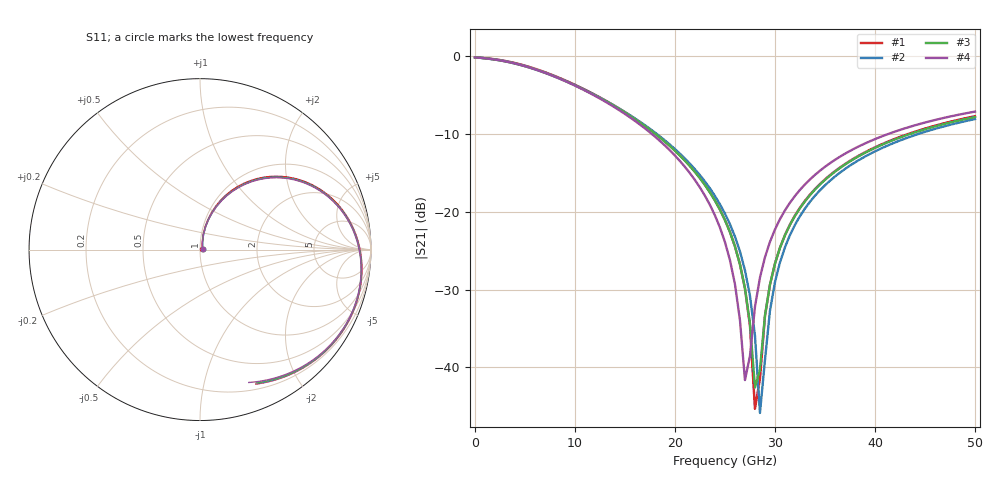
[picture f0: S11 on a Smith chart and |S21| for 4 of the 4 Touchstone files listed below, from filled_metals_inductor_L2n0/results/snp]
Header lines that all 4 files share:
#  GHZ S DB R 50.0
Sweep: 10 MHz to 50 GHz
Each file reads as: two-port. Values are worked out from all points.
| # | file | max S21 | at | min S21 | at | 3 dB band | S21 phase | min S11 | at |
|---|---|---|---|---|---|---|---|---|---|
| 1 | surface_2um.s2p | -0.11 dB | 10 MHz | -45.3 dB | 28 GHz | 10 MHz-9 GHz | -102 deg at 25 GHz | -38.2 dB | 10 MHz |
| 2 | volume_1um.s2p | -0.13 dB | 10 MHz | -45.9 dB | 28.5 GHz | 10 MHz-9 GHz | -100 deg at 25 GHz | -36.5 dB | 10 MHz |
| 3 | volume_2um.s2p | -0.13 dB | 10 MHz | -42.6 dB | 28 GHz | 10 MHz-8.5 GHz | -99 deg at 25 GHz | -36.5 dB | 10 MHz |
| 4 | volume_5um.s2p | -0.13 dB | 10 MHz | -41.6 dB | 27 GHz | 10 MHz-8.5 GHz | -98 deg at 25 GHz | -36.5 dB | 10 MHz |
